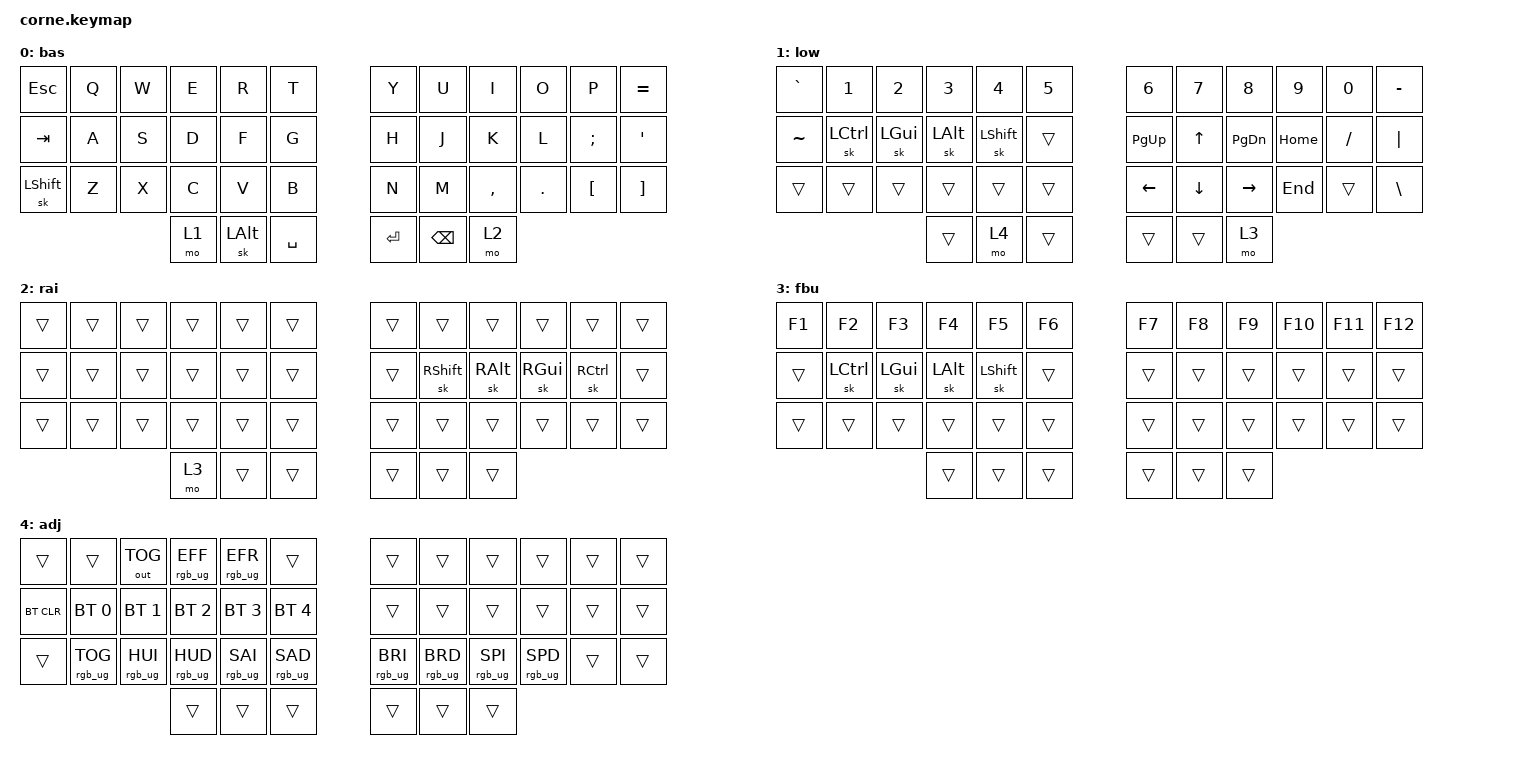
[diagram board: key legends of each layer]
/*
 * Copyright (c) 2020 The ZMK Contributors
 *
 * SPDX-License-Identifier: MIT
 */

#include <dt-bindings/led/led.h>
#include <dt-bindings/zmk/reset.h>
#include <behaviors.dtsi>
#include <dt-bindings/zmk/bt.h>
#include <dt-bindings/zmk/keys.h>
#include <dt-bindings/zmk/outputs.h>
#include <dt-bindings/zmk/rgb.h>

&led_strip { chain-length = <27>; };

/ {
    combos { compatible = "zmk,combos"; };

    behaviors {
        hold: hold {
            compatible = "zmk,behavior-hold-tap";
            label = "HOLD";
            bindings = <&mo>, <&kp>;

            #binding-cells = <2>;
            tapping-term-ms = <0>;
            flavor = "tap-preferred";
        };
    };

    keymap {
        compatible = "zmk,keymap";

        default_layer {
            display-name = "bas";

            // -----------------------------------------------------------------------------------------
            // |  TAB |  Q  |  W  |  E  |  R  |  T  |   |  Y  |  U   |  I  |  O  |  P  | BKSP |
            // | CTRL |  A  |  S  |  D  |  F  |  G  |   |  H  |  J   |  K  |  L  |  ;  |  '   |
            // | SHFT |  Z  |  X  |  C  |  V  |  B  |   |  N  |  M   |  ,  |  .  |  /  | ESC  |
            //                    | GUI | LWR | SPC |   | ENT | RSE  | ALT |

            bindings = <
&kp ESC     &kp Q  &kp W  &kp E  &kp R         &kp T        &kp Y      &kp U          &kp I      &kp O    &kp P             &kp EQUAL
&kp TAB     &kp A  &kp S  &kp D  &kp F         &kp G        &kp H      &kp J          &kp K      &kp L    &kp SEMI          &kp SQT
&sk LSHIFT  &kp Z  &kp X  &kp C  &kp V         &kp B        &kp N      &kp M          &kp COMMA  &kp DOT  &kp LEFT_BRACKET  &kp RIGHT_BRACKET
                          &mo 1  &sk LEFT_ALT  &kp SPACE    &kp ENTER  &kp BACKSPACE  &mo 2
            >;
        };

        lower {
            display-name = "low";

            // -----------------------------------------------------------------------------------------
            // |  TAB |  !  |  @  |  #  |  $  |  %  |   |  ^  |  &  |  *  |  (  |  )  | BKSP |
            // | CTRL |     |     |     |     |     |   |  -  |  =  |  [  |  ]  |  \  |  `   |
            // | SHFT |     |     |     |     |     |   |  _  |  +  |  {  |  }  | "|" |  ~   |
            //                    | GUI |     | SPC |   | ENT |     | ALT |

            bindings = <
&kp GRAVE  &kp NUMBER_1      &kp NUMBER_2  &kp NUMBER_3  &kp NUMBER_4    &kp NUMBER_5    &kp NUMBER_6    &kp NUMBER_7  &kp NUMBER_8  &kp NUMBER_9  &kp NUMBER_0  &kp MINUS
&kp TILDE  &sk LEFT_CONTROL  &sk LEFT_GUI  &sk LEFT_ALT  &sk LEFT_SHIFT  &trans          &kp PAGE_UP     &kp UP_ARROW  &kp PG_DN     &kp HOME      &kp SLASH     &kp PIPE
&trans     &trans            &trans        &trans        &trans          &trans          &kp LEFT_ARROW  &kp DOWN      &kp RIGHT     &kp END       &trans        &kp BACKSLASH
                                           &trans        &mo 4           &trans          &trans          &trans        &mo 3
            >;
        };

        raise {
            display-name = "rai";
            bindings = <
&trans  &trans  &trans  &trans  &trans  &trans    &trans  &trans           &trans         &trans         &trans             &trans
&trans  &trans  &trans  &trans  &trans  &trans    &trans  &sk RIGHT_SHIFT  &sk RIGHT_ALT  &sk RIGHT_GUI  &sk RIGHT_CONTROL  &trans
&trans  &trans  &trans  &trans  &trans  &trans    &trans  &trans           &trans         &trans         &trans             &trans
                        &mo 3   &trans  &trans    &trans  &trans           &trans
            >;
        };

        fbut {
            display-name = "fbu";
            bindings = <
&kp F1  &kp F2     &kp F3    &kp F4    &kp F5     &kp F6    &kp F7  &kp F8  &kp F9  &kp F10  &kp F11  &kp F12
&trans  &sk LCTRL  &sk LGUI  &sk LALT  &sk LSHFT  &trans    &trans  &trans  &trans  &trans   &trans   &trans
&trans  &trans     &trans    &trans    &trans     &trans    &trans  &trans  &trans  &trans   &trans   &trans
                             &trans    &trans     &trans    &trans  &trans  &trans
            >;
        };

        adjust {
            display-name = "adj";

            // -----------------------------------------------------------------------------------------
            // |  TAB |  1  |  2  |  3  |  4  |  5  |   |  6  |  7  |  8  |  9  |  0  | BKSP |
            // | BTCLR| BT1 | BT2 | BT3 | BT4 | BT5 |   | LFT | DWN |  UP | RGT |     |      |
            // | SHFT |     |     |     |     |     |   |     |     |     |     |     |      |
            //                    | GUI |     | SPC |   | ENT |     | ALT |

            bindings = <
&trans      &trans           &out OUT_TOG     &rgb_ug RGB_EFF  &rgb_ug RGB_EFR  &trans             &trans           &trans           &trans           &trans           &trans  &trans
&bt BT_CLR  &bt BT_SEL 0     &bt BT_SEL 1     &bt BT_SEL 2     &bt BT_SEL 3     &bt BT_SEL 4       &trans           &trans           &trans           &trans           &trans  &trans
&trans      &rgb_ug RGB_TOG  &rgb_ug RGB_HUI  &rgb_ug RGB_HUD  &rgb_ug RGB_SAI  &rgb_ug RGB_SAD    &rgb_ug RGB_BRI  &rgb_ug RGB_BRD  &rgb_ug RGB_SPI  &rgb_ug RGB_SPD  &trans  &trans
                                              &trans           &trans           &trans             &trans           &trans           &trans
            >;
        };
    };
};
